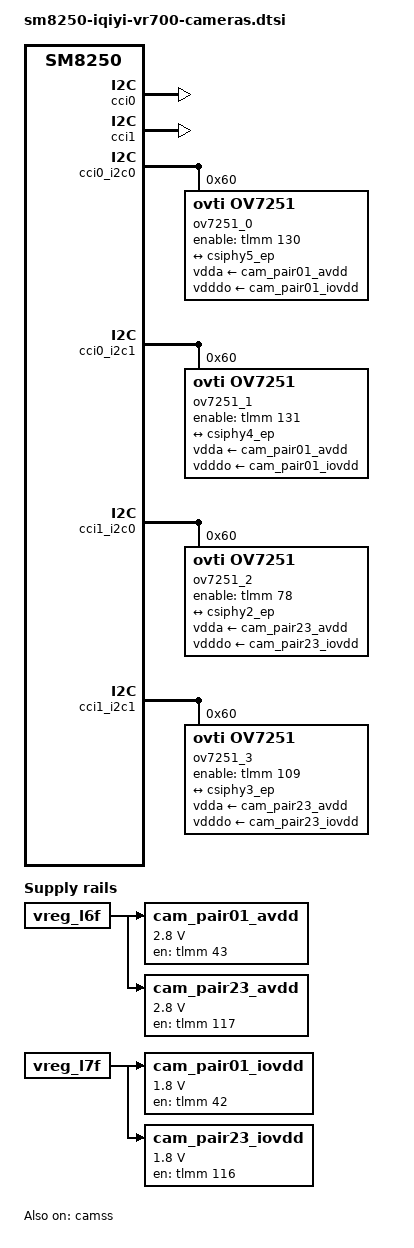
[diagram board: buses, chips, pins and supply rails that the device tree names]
// SPDX-License-Identifier: BSD-3-Clause
/* VR700 stock runtime FDT: four OV7251 sensors, probed as ID 0x7750.
 * Slot 0/1: CCI0 bus 0/1, PHY5/4; slot 2/3: CCI1 bus 0/1, PHY2/3.
 * Sensor endpoints number the source lanes; Qualcomm PHY numbers data from
 * zero and the dedicated clock lane as seven.
 */
#include <dt-bindings/media/video-interfaces.h>

/ {
	cam_pair01_avdd: regulator-cam-pair01-avdd {
		compatible = "regulator-fixed";
		regulator-name = "cam-pair01-avdd";
		regulator-min-microvolt = <2800000>;
		regulator-max-microvolt = <2800000>;
		vin-supply = <&vreg_l6f>;
		gpio = <&tlmm 43 GPIO_ACTIVE_HIGH>;
		enable-active-high;
		startup-delay-us = <1000>;
	};

	cam_pair01_iovdd: regulator-cam-pair01-iovdd {
		compatible = "regulator-fixed";
		regulator-name = "cam-pair01-iovdd";
		regulator-min-microvolt = <1800000>;
		regulator-max-microvolt = <1800000>;
		vin-supply = <&vreg_l7f>;
		gpio = <&tlmm 42 GPIO_ACTIVE_HIGH>;
		enable-active-high;
		startup-delay-us = <1000>;
	};

	cam_pair23_avdd: regulator-cam-pair23-avdd {
		compatible = "regulator-fixed";
		regulator-name = "cam-pair23-avdd";
		regulator-min-microvolt = <2800000>;
		regulator-max-microvolt = <2800000>;
		vin-supply = <&vreg_l6f>;
		gpio = <&tlmm 117 GPIO_ACTIVE_HIGH>;
		enable-active-high;
		startup-delay-us = <1000>;
	};

	cam_pair23_iovdd: regulator-cam-pair23-iovdd {
		compatible = "regulator-fixed";
		regulator-name = "cam-pair23-iovdd";
		regulator-min-microvolt = <1800000>;
		regulator-max-microvolt = <1800000>;
		vin-supply = <&vreg_l7f>;
		gpio = <&tlmm 116 GPIO_ACTIVE_HIGH>;
		enable-active-high;
		startup-delay-us = <1000>;
	};
};

&camss {
	vdda-phy-supply = <&vreg_l5a>;
	vdda-pll-supply = <&vreg_l9a>;
	pinctrl-names = "default";
	pinctrl-0 = <&controller_phase_default>;
	/* Stock cell-index 0 exports CAM_C1/CAM_C2 on GPIO92/GPIO93. */
	qcom,controller-phase-gpios = <&tlmm 92 GPIO_ACTIVE_HIGH>,
				      <&tlmm 93 GPIO_ACTIVE_HIGH>;
	qcom,controller-phase-csid = <2>;
	status = "okay";

	ports {
		port@5 {
			csiphy5_ep: endpoint {
				clock-lanes = <7>;
				data-lanes = <0>;
				bus-type = <MEDIA_BUS_TYPE_CSI2_DPHY>;
				remote-endpoint = <&ov7251_0_ep>;
			};
		};
		port@4 {
			csiphy4_ep: endpoint {
				clock-lanes = <7>;
				data-lanes = <0>;
				bus-type = <MEDIA_BUS_TYPE_CSI2_DPHY>;
				remote-endpoint = <&ov7251_1_ep>;
			};
		};
		port@2 {
			csiphy2_ep: endpoint {
				clock-lanes = <7>;
				data-lanes = <0>;
				bus-type = <MEDIA_BUS_TYPE_CSI2_DPHY>;
				remote-endpoint = <&ov7251_2_ep>;
			};
		};
		port@3 {
			csiphy3_ep: endpoint {
				clock-lanes = <7>;
				data-lanes = <0>;
				bus-type = <MEDIA_BUS_TYPE_CSI2_DPHY>;
				remote-endpoint = <&ov7251_3_ep>;
			};
		};
	};
};

&cci0 { status = "okay"; };
&cci1 { status = "okay"; };

&cci0_i2c0 {
	ov7251_0: camera@60 {
		compatible = "ovti,ov7251";
		reg = <0x60>;
		clocks = <&camcc CAM_CC_MCLK5_CLK>;
		clock-names = "xclk";
		assigned-clocks = <&camcc CAM_CC_MCLK5_CLK>;
		assigned-clock-rates = <24000000>;
		vdda-supply = <&cam_pair01_avdd>;
		vdddo-supply = <&cam_pair01_iovdd>;
		enable-gpios = <&tlmm 130 GPIO_ACTIVE_HIGH>;
		pinctrl-names = "default";
		pinctrl-0 = <&cam0_vr700_default>;

		port {
			ov7251_0_ep: endpoint {
				clock-lanes = <0>;
				data-lanes = <1>;
				link-frequencies = /bits/ 64 <240000000>;
				remote-endpoint = <&csiphy5_ep>;
			};
		};
	};
};

&cci0_i2c1 {
	ov7251_1: camera@60 {
		compatible = "ovti,ov7251";
		reg = <0x60>;
		clocks = <&camcc CAM_CC_MCLK4_CLK>;
		clock-names = "xclk";
		assigned-clocks = <&camcc CAM_CC_MCLK4_CLK>;
		assigned-clock-rates = <24000000>;
		vdda-supply = <&cam_pair01_avdd>;
		vdddo-supply = <&cam_pair01_iovdd>;
		enable-gpios = <&tlmm 131 GPIO_ACTIVE_HIGH>;
		pinctrl-names = "default";
		pinctrl-0 = <&cam1_vr700_default>;

		port {
			ov7251_1_ep: endpoint {
				clock-lanes = <0>;
				data-lanes = <1>;
				link-frequencies = /bits/ 64 <240000000>;
				remote-endpoint = <&csiphy4_ep>;
			};
		};
	};
};

&cci1_i2c0 {
	ov7251_2: camera@60 {
		compatible = "ovti,ov7251";
		reg = <0x60>;
		clocks = <&camcc CAM_CC_MCLK2_CLK>;
		clock-names = "xclk";
		assigned-clocks = <&camcc CAM_CC_MCLK2_CLK>;
		assigned-clock-rates = <24000000>;
		vdda-supply = <&cam_pair23_avdd>;
		vdddo-supply = <&cam_pair23_iovdd>;
		enable-gpios = <&tlmm 78 GPIO_ACTIVE_HIGH>;
		pinctrl-names = "default";
		pinctrl-0 = <&cam2_vr700_default>;

		port {
			ov7251_2_ep: endpoint {
				clock-lanes = <0>;
				data-lanes = <1>;
				link-frequencies = /bits/ 64 <240000000>;
				remote-endpoint = <&csiphy2_ep>;
			};
		};
	};
};

&cci1_i2c1 {
	ov7251_3: camera@60 {
		compatible = "ovti,ov7251";
		reg = <0x60>;
		clocks = <&camcc CAM_CC_MCLK3_CLK>;
		clock-names = "xclk";
		assigned-clocks = <&camcc CAM_CC_MCLK3_CLK>;
		assigned-clock-rates = <24000000>;
		vdda-supply = <&cam_pair23_avdd>;
		vdddo-supply = <&cam_pair23_iovdd>;
		enable-gpios = <&tlmm 109 GPIO_ACTIVE_HIGH>;
		pinctrl-names = "default";
		pinctrl-0 = <&cam3_vr700_default>;

		port {
			ov7251_3_ep: endpoint {
				clock-lanes = <0>;
				data-lanes = <1>;
				link-frequencies = /bits/ 64 <240000000>;
				remote-endpoint = <&csiphy3_ep>;
			};
		};
	};
};

&tlmm {
	controller_phase_default: controller-phase-default-state {
		pins = "gpio92", "gpio93";
		function = "gpio";
		drive-strength = <2>;
		bias-disable;
		output-low;
	};

	cam0_vr700_default: cam0-vr700-default-state {
		mclk-pins {
			pins = "gpio99";
			function = "cam_mclk";
			drive-strength = <2>;
			bias-disable;
		};
		reset-pins {
			pins = "gpio130";
			function = "gpio";
			drive-strength = <2>;
			bias-disable;
		};
	};
	cam1_vr700_default: cam1-vr700-default-state {
		mclk-pins {
			pins = "gpio98";
			function = "cam_mclk";
			drive-strength = <2>;
			bias-disable;
		};
		reset-pins {
			pins = "gpio131";
			function = "gpio";
			drive-strength = <2>;
			bias-disable;
		};
	};
	cam2_vr700_default: cam2-vr700-default-state {
		mclk-pins {
			pins = "gpio96";
			function = "cam_mclk";
			drive-strength = <2>;
			bias-disable;
		};
		reset-pins {
			pins = "gpio78";
			function = "gpio";
			drive-strength = <2>;
			bias-disable;
		};
	};
	cam3_vr700_default: cam3-vr700-default-state {
		mclk-pins {
			pins = "gpio97";
			function = "cam_mclk";
			drive-strength = <2>;
			bias-disable;
		};
		reset-pins {
			pins = "gpio109";
			function = "gpio";
			drive-strength = <2>;
			bias-disable;
		};
	};
};
